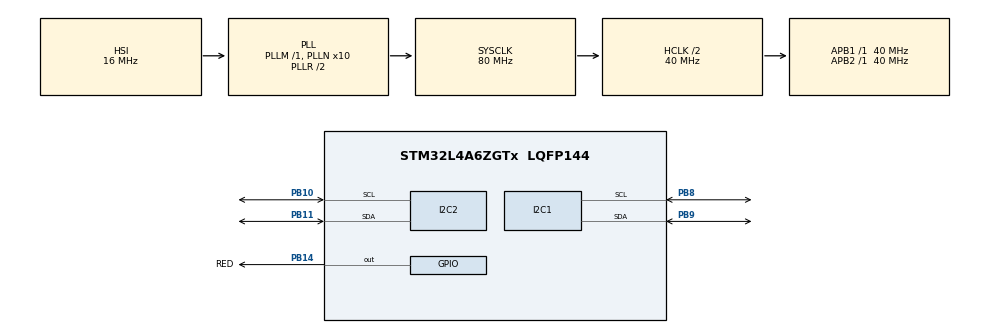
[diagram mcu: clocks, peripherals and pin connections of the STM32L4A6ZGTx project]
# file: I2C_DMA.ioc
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Dma.I2C1_RX.0.Direction=DMA_PERIPH_TO_MEMORY
Dma.I2C1_RX.0.Instance=DMA1_Channel7
Dma.I2C1_RX.0.MemDataAlignment=DMA_MDATAALIGN_BYTE
Dma.I2C1_RX.0.MemInc=DMA_MINC_ENABLE
Dma.I2C1_RX.0.Mode=DMA_NORMAL
Dma.I2C1_RX.0.PeriphDataAlignment=DMA_PDATAALIGN_BYTE
Dma.I2C1_RX.0.PeriphInc=DMA_PINC_DISABLE
Dma.I2C1_RX.0.Priority=DMA_PRIORITY_HIGH
Dma.I2C1_TX.1.Direction=DMA_MEMORY_TO_PERIPH
Dma.I2C1_TX.1.Instance=DMA1_Channel6
Dma.I2C1_TX.1.MemDataAlignment=DMA_MDATAALIGN_BYTE
Dma.I2C1_TX.1.MemInc=DMA_MINC_ENABLE
Dma.I2C1_TX.1.Mode=DMA_NORMAL
Dma.I2C1_TX.1.PeriphDataAlignment=DMA_PDATAALIGN_BYTE
Dma.I2C1_TX.1.PeriphInc=DMA_PINC_DISABLE
Dma.I2C1_TX.1.Priority=DMA_PRIORITY_HIGH
Dma.I2C2_RX.3.Direction=DMA_PERIPH_TO_MEMORY
Dma.I2C2_RX.3.Instance=DMA1_Channel5
Dma.I2C2_RX.3.MemDataAlignment=DMA_MDATAALIGN_BYTE
Dma.I2C2_RX.3.MemInc=DMA_MINC_ENABLE
Dma.I2C2_RX.3.Mode=DMA_NORMAL
Dma.I2C2_RX.3.PeriphDataAlignment=DMA_PDATAALIGN_BYTE
Dma.I2C2_RX.3.PeriphInc=DMA_PINC_DISABLE
Dma.I2C2_RX.3.Priority=DMA_PRIORITY_MEDIUM
Dma.I2C2_TX.2.Direction=DMA_MEMORY_TO_PERIPH
Dma.I2C2_TX.2.Instance=DMA1_Channel4
Dma.I2C2_TX.2.MemDataAlignment=DMA_MDATAALIGN_BYTE
Dma.I2C2_TX.2.MemInc=DMA_MINC_ENABLE
Dma.I2C2_TX.2.Mode=DMA_NORMAL
Dma.I2C2_TX.2.PeriphDataAlignment=DMA_PDATAALIGN_BYTE
Dma.I2C2_TX.2.PeriphInc=DMA_PINC_DISABLE
Dma.I2C2_TX.2.Priority=DMA_PRIORITY_MEDIUM
Dma.Request0=I2C1_RX
Dma.Request1=I2C1_TX
Dma.Request2=I2C2_TX
Dma.Request3=I2C2_RX
I2C1.Timing=0x00D09BE3
I2C2.OwnAddress=0x28
I2C2.Timing=0x00D09BE3
Mcu.Family=STM32L4
Mcu.Name=STM32L4A6ZGTx
Mcu.Package=LQFP144
NVIC.DMA1_Channel4_IRQn=true\:1\:0\:true\:false\:true\:false\:true\:true
NVIC.DMA1_Channel5_IRQn=true\:1\:0\:true\:false\:true\:false\:true\:true
NVIC.DMA1_Channel6_IRQn=true\:1\:0\:true\:false\:true\:false\:true\:true
NVIC.DMA1_Channel7_IRQn=true\:1\:0\:true\:false\:true\:false\:true\:true
NVIC.I2C1_ER_IRQn=true\:2\:0\:true\:false\:true\:true\:true\:true
NVIC.I2C1_EV_IRQn=true\:3\:0\:true\:false\:true\:true\:true\:true
NVIC.I2C2_ER_IRQn=true\:2\:0\:true\:false\:true\:true\:true\:true
NVIC.I2C2_EV_IRQn=true\:3\:0\:true\:false\:true\:true\:true\:true
NVIC.PriorityGroup=NVIC_PRIORITYGROUP_4
PB10.Mode=I2C
PB10.Signal=I2C2_SCL
PB11.Mode=I2C
PB11.Signal=I2C2_SDA
PB14.GPIO_Label=RED
PB14.Signal=GPIO_Output
PB8.Mode=I2C
PB8.Signal=I2C1_SCL
PB9.Mode=I2C
PB9.Signal=I2C1_SDA
PH0-OSC_IN\ (PH0).Mode=HSE-External-Oscillator
PH0-OSC_IN\ (PH0).Signal=RCC_OSC_IN
PH1-OSC_OUT\ (PH1).Mode=HSE-External-Oscillator
PH1-OSC_OUT\ (PH1).Signal=RCC_OSC_OUT
ProjectManager.HeapSize=0x200
ProjectManager.StackSize=0x400
ProjectManager.TargetToolchain=STM32CubeIDE
RCC.ADCFreq_Value=64000000
RCC.AHBCLKDivider=RCC_SYSCLK_DIV2
RCC.AHBFreq_Value=40000000
RCC.APB1Freq_Value=40000000
RCC.APB1TimFreq_Value=40000000
RCC.APB2Freq_Value=40000000
RCC.APB2TimFreq_Value=40000000
RCC.CortexFreq_Value=40000000
RCC.HCLKFreq_Value=40000000
RCC.HSE_VALUE=8000000
RCC.HSI48_VALUE=48000000
RCC.HSI_VALUE=16000000
RCC.LSE_VALUE=32768
RCC.MSI_VALUE=4000000
RCC.PLLN=10
RCC.PLLSourceVirtual=RCC_PLLSOURCE_HSI
RCC.SYSCLKFreq_VALUE=80000000
RCC.SYSCLKSource=RCC_SYSCLKSOURCE_PLLCLK
RCC.USBFreq_Value=64000000
RCC.VCOOutputFreq_Value=160000000
board=custom

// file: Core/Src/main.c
/* USER CODE BEGIN Header */
/**
  ******************************************************************************
  * @file           : main.c
  * @brief          : Main program body
  ******************************************************************************
  * @attention
  *
  * Copyright (c) 2025 STMicroelectronics.
  * All rights reserved.
  *
  * This software is licensed under terms that can be found in the LICENSE file
  * in the root directory of this software component.
  * If no LICENSE file comes with this software, it is provided AS-IS.
  *
  ******************************************************************************
  */
/* USER CODE END Header */
#include "main.h"

/* USER CODE BEGIN Includes */
#include <string.h>
/* USER CODE END Includes */

/* USER CODE BEGIN PV */
uint8_t master_tx_buffer[32] = "Hello from I2C1 Master!";
uint8_t master_rx_buffer[32];
uint8_t slave_tx_buffer[32] = "Response from I2C2 Slave!";
uint8_t slave_rx_buffer[32];

volatile uint8_t master_tx_complete = 0;
volatile uint8_t master_rx_complete = 0;
volatile uint8_t slave_tx_complete = 0;
volatile uint8_t slave_rx_complete = 0;

// I2C slave addr
#define SLAVE_ADDRESS 0x50
/* USER CODE END PV */

void SystemClock_Config(void);
static void MX_GPIO_Init(void);
static void MX_DMA_Init(void);
static void MX_I2C1_Init(void);
static void MX_I2C2_Init(void);

/* USER CODE BEGIN 0 */
void I2C1_Master_Transmit_DMA(uint8_t slaveAddr, uint8_t *pData, uint16_t size)
{
    // Clear any pending status flags from previous transfers
    LL_I2C_ClearFlag_STOP(I2C1);
    LL_I2C_ClearFlag_NACK(I2C1);

    // Disable the DMA channel
    LL_DMA_DisableChannel(DMA1, LL_DMA_CHANNEL_6);

    // Set addr, size and buffer for DMA transfers
    LL_DMA_SetMemoryAddress(DMA1, LL_DMA_CHANNEL_6, (uint32_t)pData);
    LL_DMA_SetPeriphAddress(DMA1, LL_DMA_CHANNEL_6, (uint32_t)&I2C1->TXDR);
    LL_DMA_SetDataLength(DMA1, LL_DMA_CHANNEL_6, size);

    // Clear any pending DMA flags
    LL_DMA_ClearFlag_TC6(DMA1);
    LL_DMA_ClearFlag_HT6(DMA1);
    LL_DMA_ClearFlag_GI6(DMA1);
    LL_DMA_ClearFlag_TE6(DMA1);

    // Enable DMA req for I2C1
    LL_I2C_EnableDMAReq_TX(I2C1);

    // Enable IRQ
    LL_DMA_EnableIT_TC(DMA1, LL_DMA_CHANNEL_6);

    // Enable DMA channel
    LL_DMA_EnableChannel(DMA1, LL_DMA_CHANNEL_6);

    // Send start sequence and slave addr
    LL_I2C_HandleTransfer(I2C1, slaveAddr, LL_I2C_ADDRSLAVE_7BIT, size,
                          LL_I2C_MODE_AUTOEND, LL_I2C_GENERATE_START_WRITE);

    master_tx_complete = 0;
}

void I2C1_Master_Receive_DMA(uint8_t slaveAddr, uint8_t *pData, uint16_t size)
{
    // Clear any pending status flags from previous transfer
    LL_I2C_ClearFlag_STOP(I2C1);
    LL_I2C_ClearFlag_NACK(I2C1);

    // Disable the DMA channel
    LL_DMA_DisableChannel(DMA1, LL_DMA_CHANNEL_7);

    // Set addr, size and buffer for DMA reception
    LL_DMA_SetMemoryAddress(DMA1, LL_DMA_CHANNEL_7, (uint32_t)pData);
    LL_DMA_SetPeriphAddress(DMA1, LL_DMA_CHANNEL_7, (uint32_t)&I2C1->RXDR);
    LL_DMA_SetDataLength(DMA1, LL_DMA_CHANNEL_7, size);

    // Clear any pending DMA flags
    LL_DMA_ClearFlag_TC7(DMA1);
    LL_DMA_ClearFlag_HT7(DMA1);
    LL_DMA_ClearFlag_GI7(DMA1);
    LL_DMA_ClearFlag_TE7(DMA1);

    // Enable DMA reqs for I2C1
    LL_I2C_EnableDMAReq_RX(I2C1);

    // Enable IRQ
    LL_DMA_EnableIT_TC(DMA1, LL_DMA_CHANNEL_7);

    // Enable DMA Channel
    LL_DMA_EnableChannel(DMA1, LL_DMA_CHANNEL_7);

    // Send start sequence and slave addr in reading mode
    LL_I2C_HandleTransfer(I2C1, slaveAddr, LL_I2C_ADDRSLAVE_7BIT, size,
                          LL_I2C_MODE_AUTOEND, LL_I2C_GENERATE_START_READ);

    master_rx_complete = 0;
}

void I2C2_Slave_Init(void)
{
    // Enable interrupt for address matchig event
    LL_I2C_EnableIT_ADDR(I2C2);

    // clear slave addresses
    slave_tx_complete = 0;
    slave_rx_complete = 0;
}

void I2C2_Slave_Receive_DMA_Setup(uint8_t *pData, uint16_t size)
{
    // Set addr, size and buffer for DMA reception
    LL_DMA_SetMemoryAddress(DMA1, LL_DMA_CHANNEL_5, (uint32_t)pData);
    LL_DMA_SetPeriphAddress(DMA1, LL_DMA_CHANNEL_5, (uint32_t)&I2C2->RXDR);
    LL_DMA_SetDataLength(DMA1, LL_DMA_CHANNEL_5, size);

    // Reset TC bit
    LL_DMA_DisableChannel(DMA1, LL_DMA_CHANNEL_5);

    // Enable DMA req for I2C2
    LL_I2C_EnableDMAReq_RX(I2C2);

    // Enable IRQ
    LL_DMA_EnableIT_TC(DMA1, LL_DMA_CHANNEL_5);

    // Enable DMA Channel
    LL_DMA_EnableChannel(DMA1, LL_DMA_CHANNEL_5);

    slave_rx_complete = 0;
}

void I2C2_Slave_Transmit_DMA_Setup(uint8_t *pData, uint16_t size)
{
    // Set addr, size and buffer for DMA transfers
    LL_DMA_SetMemoryAddress(DMA1, LL_DMA_CHANNEL_4, (uint32_t)pData);
    LL_DMA_SetPeriphAddress(DMA1, LL_DMA_CHANNEL_4, (uint32_t)&I2C2->TXDR);
    LL_DMA_SetDataLength(DMA1, LL_DMA_CHANNEL_4, size);

    // Reset TC bit
    LL_DMA_DisableChannel(DMA1, LL_DMA_CHANNEL_4);

    // Enable DMA req for I2C2
    LL_I2C_EnableDMAReq_TX(I2C2);

    // Enable IRQ
    LL_DMA_EnableIT_TC(DMA1, LL_DMA_CHANNEL_4);

    // Enable DMA Channel
    LL_DMA_EnableChannel(DMA1, LL_DMA_CHANNEL_4);

    slave_tx_complete = 0;
}

/**
  * @brief This function handles DMA1 channel4 global interrupt.
  */
 void DMA1_Channel4_IRQHandler(void)
 {
   /* USER CODE BEGIN DMA1_Channel4_IRQn 0 */
   // I2C2 TX
   if (LL_DMA_IsActiveFlag_TC4(DMA1)) {
     LL_DMA_ClearFlag_TC4(DMA1);
     LL_DMA_DisableChannel(DMA1, LL_DMA_CHANNEL_4);
     slave_tx_complete = 1;
   }
   /* USER CODE END DMA1_Channel4_IRQn 0 */
   /* USER CODE BEGIN DMA1_Channel4_IRQn 1 */

   /* USER CODE END DMA1_Channel4_IRQn 1 */
 }

 /**
   * @brief This function handles DMA1 channel5 global interrupt.
   */
 void DMA1_Channel5_IRQHandler(void)
 {
   /* USER CODE BEGIN DMA1_Channel5_IRQn 0 */
   // I2C2 RX
   if (LL_DMA_IsActiveFlag_TC5(DMA1)) {
     LL_DMA_ClearFlag_TC5(DMA1);
     LL_DMA_DisableChannel(DMA1, LL_DMA_CHANNEL_5);
     slave_rx_complete = 1;
   }
   /* USER CODE END DMA1_Channel5_IRQn 0 */
   /* USER CODE BEGIN DMA1_Channel5_IRQn 1 */

   /* USER CODE END DMA1_Channel5_IRQn 1 */
 }

 /**
   * @brief This function handles DMA1 channel6 global interrupt.
   */
 void DMA1_Channel6_IRQHandler(void)
 {
   /* USER CODE BEGIN DMA1_Channel6_IRQn 0 */
   // I2C1 TX
   if (LL_DMA_IsActiveFlag_TC6(DMA1)) {
     LL_DMA_ClearFlag_TC6(DMA1);
     LL_DMA_DisableChannel(DMA1, LL_DMA_CHANNEL_6);
     master_tx_complete = 1;
   }
   /* USER CODE END DMA1_Channel6_IRQn 0 */
   /* USER CODE BEGIN DMA1_Channel6_IRQn 1 */

   /* USER CODE END DMA1_Channel6_IRQn 1 */
 }

 /**
   * @brief This function handles DMA1 channel7 global interrupt.
   */
 void DMA1_Channel7_IRQHandler(void)
 {
   /* USER CODE BEGIN DMA1_Channel7_IRQn 0 */
   // I2C1 RX
   if (LL_DMA_IsActiveFlag_TC7(DMA1)) {
     LL_DMA_ClearFlag_TC7(DMA1);
     LL_DMA_DisableChannel(DMA1, LL_DMA_CHANNEL_7);
     master_rx_complete = 1;
   }
   /* USER CODE END DMA1_Channel7_IRQn 0 */
   /* USER CODE BEGIN DMA1_Channel7_IRQn 1 */

   /* USER CODE END DMA1_Channel7_IRQn 1 */
 }

 /**
  * @brief This function handles I2C1 event interrupt.
  */
void I2C1_EV_IRQHandler(void)
{
  /* USER CODE BEGIN I2C1_EV_IRQn 0 */

  /* USER CODE END I2C1_EV_IRQn 0 */
  /* USER CODE BEGIN I2C1_EV_IRQn 1 */

  /* USER CODE END I2C1_EV_IRQn 1 */
}

/**
  * @brief This function handles I2C2 event interrupt.
  */
void I2C2_EV_IRQHandler(void)
{
  // Handle address matched event
  if (LL_I2C_IsActiveFlag_ADDR(I2C2)) {
    // Clear address matched flag
    LL_I2C_ClearFlag_ADDR(I2C2);

    // Also clear any pending NACK flag
    if (LL_I2C_IsActiveFlag_NACK(I2C2)) {
      LL_I2C_ClearFlag_NACK(I2C2);
    }

    // Enable appropriate DMA channel based on direction
    if (LL_I2C_GetTransferDirection(I2C2) == LL_I2C_DIRECTION_WRITE) {
      LL_DMA_EnableChannel(DMA1, LL_DMA_CHANNEL_5);  // RX
    } else {
      LL_DMA_EnableChannel(DMA1, LL_DMA_CHANNEL_4);  // TX
    }
  }

  // Handle STOP detection
  if (LL_I2C_IsActiveFlag_STOP(I2C2)) {
    // Clear STOP flag
    LL_I2C_ClearFlag_STOP(I2C2);

    // Clear any other pending flags
    if (LL_I2C_IsActiveFlag_NACK(I2C2)) {
      LL_I2C_ClearFlag_NACK(I2C2);
    }

    // Clear any other error flags that might be set
    LL_I2C_ClearFlag_BERR(I2C2);
    LL_I2C_ClearFlag_ARLO(I2C2);
    LL_I2C_ClearFlag_OVR(I2C2);

    // Reset the DMA channels and re-initialize for next operations
    LL_DMA_DisableChannel(DMA1, LL_DMA_CHANNEL_4);
    LL_DMA_DisableChannel(DMA1, LL_DMA_CHANNEL_5);

    // Always prepare for next reception
    I2C2_Slave_Receive_DMA_Setup(slave_rx_buffer, sizeof(slave_rx_buffer));

    // Always prepare for next transmission
    I2C2_Slave_Transmit_DMA_Setup(slave_tx_buffer, sizeof(slave_tx_buffer));
  }
}

/**
  * @brief This function handles I2C1 error interrupt.
  */
void I2C1_ER_IRQHandler(void)
{
  /* USER CODE BEGIN I2C1_ER_IRQn 0 */

  /* USER CODE END I2C1_ER_IRQn 0 */
  /* USER CODE BEGIN I2C1_ER_IRQn 1 */

  /* USER CODE END I2C1_ER_IRQn 1 */
}

/**
  * @brief This function handles I2C2 error interrupt.
  */
void I2C2_ER_IRQHandler(void)
{
  /* USER CODE BEGIN I2C2_ER_IRQn 0 */

  /* USER CODE END I2C2_ER_IRQn 0 */
  /* USER CODE BEGIN I2C2_ER_IRQn 1 */

  /* USER CODE END I2C2_ER_IRQn 1 */
}
/* USER CODE END 0 */

int main(void)
{

  /* MCU Configuration--------------------------------------------------------*/

  /* Reset of all peripherals, Initializes the Flash interface and the Systick. */
  HAL_Init();

  /* Configure the system clock */
  SystemClock_Config();

  /* Initialize all configured peripherals */
  MX_GPIO_Init();
  MX_DMA_Init();
  MX_I2C1_Init();
  MX_I2C2_Init();
  /* USER CODE BEGIN 2 */
  I2C2_Slave_Init();

  // Setup slave
  I2C2_Slave_Receive_DMA_Setup(slave_rx_buffer, sizeof(slave_rx_buffer));

  // Prepare slave to send data
  I2C2_Slave_Transmit_DMA_Setup(slave_tx_buffer, sizeof(slave_tx_buffer));

  // wait ?
  LL_mDelay(100);

  // Send from master to slave
  I2C1_Master_Transmit_DMA(SLAVE_ADDRESS, master_tx_buffer, strlen((char*)master_tx_buffer));

  while (1 != master_tx_complete){
    // wait TC
  }

  LL_mDelay(100);

  // Master accept data from slave
  I2C1_Master_Receive_DMA(SLAVE_ADDRESS, master_rx_buffer, strlen((char*)slave_tx_buffer));

  while (1 != master_rx_complete){
    // wait TC
  }

  // OK
  LL_GPIO_TogglePin(RED_GPIO_Port, RED_Pin);
  /* USER CODE END 2 */

  /* Infinite loop */
  /* USER CODE BEGIN WHILE */
  while (1)
  {
    // send data periodically
    if (1 == master_tx_complete && 1 == master_rx_complete) {
      master_tx_complete = 0;
      master_rx_complete = 0;

      LL_mDelay(1000);

      // Transmit data to slave
      I2C1_Master_Transmit_DMA(SLAVE_ADDRESS, master_tx_buffer, strlen((char*)master_tx_buffer));

      // Wait for transmit to complete
      while (1 != master_tx_complete) {
        LL_mDelay(1);
      }

      LL_GPIO_TogglePin(RED_GPIO_Port, RED_Pin);
      LL_mDelay(100);

      // Now receive data from slave
      I2C1_Master_Receive_DMA(SLAVE_ADDRESS, master_rx_buffer, strlen((char*)slave_tx_buffer));
    }
    /* USER CODE END WHILE */

  }
}

void SystemClock_Config(void)
{
  RCC_OscInitTypeDef RCC_OscInitStruct = {0};
  RCC_ClkInitTypeDef RCC_ClkInitStruct = {0};

  /** Configure the main internal regulator output voltage
  */
  if (HAL_PWREx_ControlVoltageScaling(PWR_REGULATOR_VOLTAGE_SCALE1) != HAL_OK)
  {
    Error_Handler();
  }

  /** Initializes the RCC Oscillators according to the specified parameters
  * in the RCC_OscInitTypeDef structure.
  */
  RCC_OscInitStruct.OscillatorType = RCC_OSCILLATORTYPE_HSI;
  RCC_OscInitStruct.HSIState = RCC_HSI_ON;
  RCC_OscInitStruct.HSICalibrationValue = RCC_HSICALIBRATION_DEFAULT;
  RCC_OscInitStruct.PLL.PLLState = RCC_PLL_ON;
  RCC_OscInitStruct.PLL.PLLSource = RCC_PLLSOURCE_HSI;
  RCC_OscInitStruct.PLL.PLLM = 1;
  RCC_OscInitStruct.PLL.PLLN = 10;
  RCC_OscInitStruct.PLL.PLLP = RCC_PLLP_DIV2;
  RCC_OscInitStruct.PLL.PLLQ = RCC_PLLQ_DIV2;
  RCC_OscInitStruct.PLL.PLLR = RCC_PLLR_DIV2;
  if (HAL_RCC_OscConfig(&RCC_OscInitStruct) != HAL_OK)
  {
    Error_Handler();
  }

  /** Initializes the CPU, AHB and APB buses clocks
  */
  RCC_ClkInitStruct.ClockType = RCC_CLOCKTYPE_HCLK|RCC_CLOCKTYPE_SYSCLK
                              |RCC_CLOCKTYPE_PCLK1|RCC_CLOCKTYPE_PCLK2;
  RCC_ClkInitStruct.SYSCLKSource = RCC_SYSCLKSOURCE_PLLCLK;
  RCC_ClkInitStruct.AHBCLKDivider = RCC_SYSCLK_DIV2;
  RCC_ClkInitStruct.APB1CLKDivider = RCC_HCLK_DIV1;
  RCC_ClkInitStruct.APB2CLKDivider = RCC_HCLK_DIV1;

  if (HAL_RCC_ClockConfig(&RCC_ClkInitStruct, FLASH_LATENCY_2) != HAL_OK)
  {
    Error_Handler();
  }
}

static void MX_I2C1_Init(void)
{

  LL_I2C_InitTypeDef I2C_InitStruct = {0};

  LL_GPIO_InitTypeDef GPIO_InitStruct = {0};
  RCC_PeriphCLKInitTypeDef PeriphClkInit = {0};

  /** Initializes the peripherals clock
  */
  PeriphClkInit.PeriphClockSelection = RCC_PERIPHCLK_I2C1;
  PeriphClkInit.I2c1ClockSelection = RCC_I2C1CLKSOURCE_PCLK1;
  if (HAL_RCCEx_PeriphCLKConfig(&PeriphClkInit) != HAL_OK)
  {
    Error_Handler();
  }

  LL_AHB2_GRP1_EnableClock(LL_AHB2_GRP1_PERIPH_GPIOB);
  /**I2C1 GPIO Configuration
  PB8   ------> I2C1_SCL
  PB9   ------> I2C1_SDA
  */
  GPIO_InitStruct.Pin = LL_GPIO_PIN_8|LL_GPIO_PIN_9;
  GPIO_InitStruct.Mode = LL_GPIO_MODE_ALTERNATE;
  GPIO_InitStruct.Speed = LL_GPIO_SPEED_FREQ_VERY_HIGH;
  GPIO_InitStruct.OutputType = LL_GPIO_OUTPUT_OPENDRAIN;
  GPIO_InitStruct.Pull = LL_GPIO_PULL_UP;
  GPIO_InitStruct.Alternate = LL_GPIO_AF_4;
  LL_GPIO_Init(GPIOB, &GPIO_InitStruct);

  /* Peripheral clock enable */
  LL_APB1_GRP1_EnableClock(LL_APB1_GRP1_PERIPH_I2C1);

  /* I2C1 DMA Init */

  /* I2C1_RX Init */
  LL_DMA_SetPeriphRequest(DMA1, LL_DMA_CHANNEL_7, LL_DMA_REQUEST_3);

  LL_DMA_SetDataTransferDirection(DMA1, LL_DMA_CHANNEL_7, LL_DMA_DIRECTION_PERIPH_TO_MEMORY);

  LL_DMA_SetChannelPriorityLevel(DMA1, LL_DMA_CHANNEL_7, LL_DMA_PRIORITY_HIGH);

  LL_DMA_SetMode(DMA1, LL_DMA_CHANNEL_7, LL_DMA_MODE_NORMAL);

  LL_DMA_SetPeriphIncMode(DMA1, LL_DMA_CHANNEL_7, LL_DMA_PERIPH_NOINCREMENT);

  LL_DMA_SetMemoryIncMode(DMA1, LL_DMA_CHANNEL_7, LL_DMA_MEMORY_INCREMENT);

  LL_DMA_SetPeriphSize(DMA1, LL_DMA_CHANNEL_7, LL_DMA_PDATAALIGN_BYTE);

  LL_DMA_SetMemorySize(DMA1, LL_DMA_CHANNEL_7, LL_DMA_MDATAALIGN_BYTE);

  /* I2C1_TX Init */
  LL_DMA_SetPeriphRequest(DMA1, LL_DMA_CHANNEL_6, LL_DMA_REQUEST_3);

  LL_DMA_SetDataTransferDirection(DMA1, LL_DMA_CHANNEL_6, LL_DMA_DIRECTION_MEMORY_TO_PERIPH);

  LL_DMA_SetChannelPriorityLevel(DMA1, LL_DMA_CHANNEL_6, LL_DMA_PRIORITY_HIGH);

  LL_DMA_SetMode(DMA1, LL_DMA_CHANNEL_6, LL_DMA_MODE_NORMAL);

  LL_DMA_SetPeriphIncMode(DMA1, LL_DMA_CHANNEL_6, LL_DMA_PERIPH_NOINCREMENT);

  LL_DMA_SetMemoryIncMode(DMA1, LL_DMA_CHANNEL_6, LL_DMA_MEMORY_INCREMENT);

  LL_DMA_SetPeriphSize(DMA1, LL_DMA_CHANNEL_6, LL_DMA_PDATAALIGN_BYTE);

  LL_DMA_SetMemorySize(DMA1, LL_DMA_CHANNEL_6, LL_DMA_MDATAALIGN_BYTE);

  /* I2C1 interrupt Init */
  NVIC_SetPriority(I2C1_EV_IRQn, NVIC_EncodePriority(NVIC_GetPriorityGrouping(),3, 0));
  NVIC_EnableIRQ(I2C1_EV_IRQn);
  NVIC_SetPriority(I2C1_ER_IRQn, NVIC_EncodePriority(NVIC_GetPriorityGrouping(),2, 0));
  NVIC_EnableIRQ(I2C1_ER_IRQn);

  /** I2C Initialization
  */
  LL_I2C_EnableAutoEndMode(I2C1);
  LL_I2C_DisableOwnAddress2(I2C1);
  LL_I2C_DisableGeneralCall(I2C1);
  LL_I2C_EnableClockStretching(I2C1);
  I2C_InitStruct.PeripheralMode = LL_I2C_MODE_I2C;
  I2C_InitStruct.Timing = 0x00D09BE3;
  I2C_InitStruct.AnalogFilter = LL_I2C_ANALOGFILTER_ENABLE;
  I2C_InitStruct.DigitalFilter = 0;
  I2C_InitStruct.OwnAddress1 = 0;
  I2C_InitStruct.TypeAcknowledge = LL_I2C_ACK;
  I2C_InitStruct.OwnAddrSize = LL_I2C_OWNADDRESS1_7BIT;
  LL_I2C_Init(I2C1, &I2C_InitStruct);
  LL_I2C_SetOwnAddress2(I2C1, 0, LL_I2C_OWNADDRESS2_NOMASK);

}

static void MX_I2C2_Init(void)
{

  LL_I2C_InitTypeDef I2C_InitStruct = {0};

  LL_GPIO_InitTypeDef GPIO_InitStruct = {0};
  RCC_PeriphCLKInitTypeDef PeriphClkInit = {0};

  /** Initializes the peripherals clock
  */
  PeriphClkInit.PeriphClockSelection = RCC_PERIPHCLK_I2C2;
  PeriphClkInit.I2c2ClockSelection = RCC_I2C2CLKSOURCE_PCLK1;
  if (HAL_RCCEx_PeriphCLKConfig(&PeriphClkInit) != HAL_OK)
  {
    Error_Handler();
  }

  LL_AHB2_GRP1_EnableClock(LL_AHB2_GRP1_PERIPH_GPIOB);
  /**I2C2 GPIO Configuration
  PB10   ------> I2C2_SCL
  PB11   ------> I2C2_SDA
  */
  GPIO_InitStruct.Pin = LL_GPIO_PIN_10|LL_GPIO_PIN_11;
  GPIO_InitStruct.Mode = LL_GPIO_MODE_ALTERNATE;
  GPIO_InitStruct.Speed = LL_GPIO_SPEED_FREQ_VERY_HIGH;
  GPIO_InitStruct.OutputType = LL_GPIO_OUTPUT_OPENDRAIN;
  GPIO_InitStruct.Pull = LL_GPIO_PULL_UP;
  GPIO_InitStruct.Alternate = LL_GPIO_AF_4;
  LL_GPIO_Init(GPIOB, &GPIO_InitStruct);

  /* Peripheral clock enable */
  LL_APB1_GRP1_EnableClock(LL_APB1_GRP1_PERIPH_I2C2);

  /* I2C2 DMA Init */

  /* I2C2_TX Init */
  LL_DMA_SetPeriphRequest(DMA1, LL_DMA_CHANNEL_4, LL_DMA_REQUEST_3);

  LL_DMA_SetDataTransferDirection(DMA1, LL_DMA_CHANNEL_4, LL_DMA_DIRECTION_MEMORY_TO_PERIPH);

  LL_DMA_SetChannelPriorityLevel(DMA1, LL_DMA_CHANNEL_4, LL_DMA_PRIORITY_MEDIUM);

  LL_DMA_SetMode(DMA1, LL_DMA_CHANNEL_4, LL_DMA_MODE_NORMAL);

  LL_DMA_SetPeriphIncMode(DMA1, LL_DMA_CHANNEL_4, LL_DMA_PERIPH_NOINCREMENT);

  LL_DMA_SetMemoryIncMode(DMA1, LL_DMA_CHANNEL_4, LL_DMA_MEMORY_INCREMENT);

  LL_DMA_SetPeriphSize(DMA1, LL_DMA_CHANNEL_4, LL_DMA_PDATAALIGN_BYTE);

  LL_DMA_SetMemorySize(DMA1, LL_DMA_CHANNEL_4, LL_DMA_MDATAALIGN_BYTE);

  /* I2C2_RX Init */
  LL_DMA_SetPeriphRequest(DMA1, LL_DMA_CHANNEL_5, LL_DMA_REQUEST_3);

  LL_DMA_SetDataTransferDirection(DMA1, LL_DMA_CHANNEL_5, LL_DMA_DIRECTION_PERIPH_TO_MEMORY);

  LL_DMA_SetChannelPriorityLevel(DMA1, LL_DMA_CHANNEL_5, LL_DMA_PRIORITY_MEDIUM);

  LL_DMA_SetMode(DMA1, LL_DMA_CHANNEL_5, LL_DMA_MODE_NORMAL);

  LL_DMA_SetPeriphIncMode(DMA1, LL_DMA_CHANNEL_5, LL_DMA_PERIPH_NOINCREMENT);

  LL_DMA_SetMemoryIncMode(DMA1, LL_DMA_CHANNEL_5, LL_DMA_MEMORY_INCREMENT);

  LL_DMA_SetPeriphSize(DMA1, LL_DMA_CHANNEL_5, LL_DMA_PDATAALIGN_BYTE);

  LL_DMA_SetMemorySize(DMA1, LL_DMA_CHANNEL_5, LL_DMA_MDATAALIGN_BYTE);

  /* I2C2 interrupt Init */
  NVIC_SetPriority(I2C2_EV_IRQn, NVIC_EncodePriority(NVIC_GetPriorityGrouping(),3, 0));
  NVIC_EnableIRQ(I2C2_EV_IRQn);
  NVIC_SetPriority(I2C2_ER_IRQn, NVIC_EncodePriority(NVIC_GetPriorityGrouping(),2, 0));
  NVIC_EnableIRQ(I2C2_ER_IRQn);

  /** I2C Initialization
  */
  LL_I2C_EnableAutoEndMode(I2C2);
  LL_I2C_DisableOwnAddress2(I2C2);
  LL_I2C_DisableGeneralCall(I2C2);
  LL_I2C_EnableClockStretching(I2C2);
  I2C_InitStruct.PeripheralMode = LL_I2C_MODE_I2C;
  I2C_InitStruct.Timing = 0x00D09BE3;
  I2C_InitStruct.AnalogFilter = LL_I2C_ANALOGFILTER_ENABLE;
  I2C_InitStruct.DigitalFilter = 0;
  I2C_InitStruct.OwnAddress1 = 80;
  I2C_InitStruct.TypeAcknowledge = LL_I2C_ACK;
  I2C_InitStruct.OwnAddrSize = LL_I2C_OWNADDRESS1_7BIT;
  LL_I2C_Init(I2C2, &I2C_InitStruct);
  LL_I2C_SetOwnAddress2(I2C2, 0, LL_I2C_OWNADDRESS2_NOMASK);

}

static void MX_DMA_Init(void)
{

  /* Init with LL driver */
  /* DMA controller clock enable */
  LL_AHB1_GRP1_EnableClock(LL_AHB1_GRP1_PERIPH_DMA1);

  /* DMA interrupt init */
  /* DMA1_Channel4_IRQn interrupt configuration */
  NVIC_SetPriority(DMA1_Channel4_IRQn, NVIC_EncodePriority(NVIC_GetPriorityGrouping(),1, 0));
  NVIC_EnableIRQ(DMA1_Channel4_IRQn);
  /* DMA1_Channel5_IRQn interrupt configuration */
  NVIC_SetPriority(DMA1_Channel5_IRQn, NVIC_EncodePriority(NVIC_GetPriorityGrouping(),1, 0));
  NVIC_EnableIRQ(DMA1_Channel5_IRQn);
  /* DMA1_Channel6_IRQn interrupt configuration */
  NVIC_SetPriority(DMA1_Channel6_IRQn, NVIC_EncodePriority(NVIC_GetPriorityGrouping(),1, 0));
  NVIC_EnableIRQ(DMA1_Channel6_IRQn);
  /* DMA1_Channel7_IRQn interrupt configuration */
  NVIC_SetPriority(DMA1_Channel7_IRQn, NVIC_EncodePriority(NVIC_GetPriorityGrouping(),1, 0));
  NVIC_EnableIRQ(DMA1_Channel7_IRQn);

}

static void MX_GPIO_Init(void)
{
  LL_GPIO_InitTypeDef GPIO_InitStruct = {0};

  /* GPIO Ports Clock Enable */
  LL_AHB2_GRP1_EnableClock(LL_AHB2_GRP1_PERIPH_GPIOH);
  LL_AHB2_GRP1_EnableClock(LL_AHB2_GRP1_PERIPH_GPIOB);

  /**/
  LL_GPIO_ResetOutputPin(RED_GPIO_Port, RED_Pin);

  /**/
  GPIO_InitStruct.Pin = RED_Pin;
  GPIO_InitStruct.Mode = LL_GPIO_MODE_OUTPUT;
  GPIO_InitStruct.Speed = LL_GPIO_SPEED_FREQ_LOW;
  GPIO_InitStruct.OutputType = LL_GPIO_OUTPUT_PUSHPULL;
  GPIO_InitStruct.Pull = LL_GPIO_PULL_NO;
  LL_GPIO_Init(RED_GPIO_Port, &GPIO_InitStruct);

}

void Error_Handler(void)
{
  __disable_irq();
  while (1)
  {
  }
}
